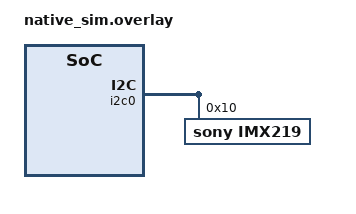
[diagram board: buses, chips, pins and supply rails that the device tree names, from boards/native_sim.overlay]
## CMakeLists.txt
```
# Copyright (c) 2026 Richard Osterloh
# SPDX-License-Identifier: Apache-2.0

cmake_minimum_required(VERSION 3.20.0)
find_package(Zephyr REQUIRED HINTS $ENV{ZEPHYR_BASE})
project(imx219_test)

FILE(GLOB app_sources src/*.c)
target_sources(app PRIVATE ${app_sources})
```

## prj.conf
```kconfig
CONFIG_ZTEST=y
CONFIG_EMUL=y

CONFIG_I2C=y
CONFIG_I2C_EMUL=y

CONFIG_VIDEO=y
CONFIG_VIDEO_IMX219=n
CONFIG_VIDEO_IMX219_OOT=y
CONFIG_VIDEO_LOG_LEVEL_DBG=y
```

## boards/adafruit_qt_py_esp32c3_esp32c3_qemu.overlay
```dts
qemu_cortex_m3.overlay
```

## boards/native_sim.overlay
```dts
/*
 * Copyright (c) 2026 Richard Osterloh
 * SPDX-License-Identifier: Apache-2.0
 */

/ {
	imx219_input_clock: imx219-input-clock {
		compatible = "fixed-clock";
		clock-frequency = <24000000>;
		#clock-cells = <0>;
	};
};

&i2c0 {
	status = "okay";

	imx219: imx219@10 {
		compatible = "sony,imx219";
		reg = <0x10>;
		clocks = <&imx219_input_clock>;
	};
};
```

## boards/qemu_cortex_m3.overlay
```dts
/*
 * Copyright (c) 2026 Richard Osterloh
 * SPDX-License-Identifier: Apache-2.0
 */

#include <zephyr/dt-bindings/i2c/i2c.h>

/ {
	imx219_input_clock: imx219-input-clock {
		compatible = "fixed-clock";
		clock-frequency = <24000000>;
		#clock-cells = <0>;
	};

	fake_i2c_bus: i2c@100 {
		compatible = "zephyr,i2c-emul-controller";
		reg = <0x100 4>;
		clock-frequency = <I2C_BITRATE_STANDARD>;
		#address-cells = <1>;
		#size-cells = <0>;
		status = "okay";

		imx219: imx219@10 {
			compatible = "sony,imx219";
			reg = <0x10>;
			clocks = <&imx219_input_clock>;
		};
	};
};
```

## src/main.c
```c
/*
 * Copyright (c) 2026 Richard Osterloh
 * SPDX-License-Identifier: Apache-2.0
 *
 * Register-sequence tests for the IMX219 fork. Each one asserts the state the
 * sensor is left in, which is the part of #37's bring-up that never needed a
 * camera: the register read-back was self-consistent there while no frame
 * arrived, and these tests say nothing about frames either.
 */

#include <zephyr/device.h>
#include <zephyr/drivers/video.h>
#include <zephyr/video/formats.h>
#include <zephyr/video/video.h>
#include <zephyr/ztest.h>

#include "imx219_emul.h"

static const struct device *const cam = DEVICE_DT_GET(DT_NODELABEL(imx219));

/* What imx219_init() left behind, captured before any test changes it. */
static struct {
	struct video_format fmt;
	uint16_t x_output_size;
	uint16_t y_output_size;
	uint16_t csi_data_format;
	uint8_t oppxck_div;
} boot;

static void set_fmt(uint32_t pixelformat, uint32_t width, uint32_t height)
{
	struct video_format fmt = {
		.type = VIDEO_BUF_TYPE_OUTPUT,
		.pixelformat = pixelformat,
		.width = width,
		.height = height,
	};

	zassert_ok(video_set_format(cam, &fmt), "%ux%u rejected", width, height);
}

static void set_fps(uint32_t fps)
{
	struct video_frmival frmival = {.numerator = 1, .denominator = fps};

	zassert_ok(video_set_frmival(cam, &frmival));
	zassert_equal(frmival.denominator, fps);
}

/* Centred crop window of w x h on the 3280x2464 array, as inclusive bounds. */
static void assert_crop(uint16_t w, uint16_t h)
{
	zassert_equal(imx219_emul_reg16(IMX219_EMUL_X_ADD_STA_A), (3280 - w) / 2);
	zassert_equal(imx219_emul_reg16(IMX219_EMUL_X_ADD_END_A), (3280 + w) / 2 - 1);
	zassert_equal(imx219_emul_reg16(IMX219_EMUL_Y_ADD_STA_A), (2464 - h) / 2);
	zassert_equal(imx219_emul_reg16(IMX219_EMUL_Y_ADD_END_A), (2464 + h) / 2 - 1);
}

static void *imx219_setup(void)
{
	zassert_true(device_is_ready(cam), "probe should succeed against the emulator");

	boot.fmt.type = VIDEO_BUF_TYPE_OUTPUT;
	zassert_ok(video_get_format(cam, &boot.fmt));
	boot.x_output_size = imx219_emul_reg16(IMX219_EMUL_X_OUTPUT_SIZE);
	boot.y_output_size = imx219_emul_reg16(IMX219_EMUL_Y_OUTPUT_SIZE);
	boot.csi_data_format = imx219_emul_reg16(IMX219_EMUL_CSI_DATA_FORMAT_A);
	boot.oppxck_div = imx219_emul_reg8(IMX219_EMUL_OPPXCK_DIV);

	return NULL;
}

/* #44: the boot format was the caps minimum, 4x4. */
ZTEST(imx219, test_boot_format_is_a_real_mode)
{
	zassert_equal(boot.fmt.pixelformat, VIDEO_PIX_FMT_SBGGR10P);
	zassert_equal(boot.fmt.width, 1640);
	zassert_equal(boot.fmt.height, 1232);
	zassert_equal(boot.fmt.pitch, 1640 * 10 / 8);

	zassert_equal(boot.x_output_size, 1640);
	zassert_equal(boot.y_output_size, 1232);
	zassert_equal(boot.csi_data_format, 0x0a0a);
	zassert_equal(boot.oppxck_div, 10);
}

ZTEST(imx219, test_probe_programs_clock_and_link)
{
	/* 24 MHz INCK, as MHz << 8. */
	zassert_equal(imx219_emul_reg16(IMX219_EMUL_EXCK_FREQ), 0x1800);
	/* 24 / 3 * 114 = 912 Mbps per lane, matching the advertised link frequency. */
	zassert_equal(imx219_emul_reg16(IMX219_EMUL_PLL_OP_MPY), 114);
}

/*
 * The defect #35 fixed: set_frmival() used to rewrite OPPXCK_DIV to 10 after
 * set_fmt() had chosen RAW8, leaving 8-bit payloads clocked out for 10.
 */
ZTEST(imx219, test_raw8_divider_survives_set_frmival)
{
	set_fmt(VIDEO_PIX_FMT_SBGGR8, 1640, 1232);
	set_fps(30);
	set_fps(15);

	zassert_equal(imx219_emul_reg8(IMX219_EMUL_OPPXCK_DIV), 8);
	zassert_equal(imx219_emul_reg16(IMX219_EMUL_CSI_DATA_FORMAT_A), 0x0808);
}

ZTEST(imx219, test_raw10_divider_and_data_format)
{
	set_fmt(VIDEO_PIX_FMT_SBGGR8, 1920, 1080);
	set_fmt(VIDEO_PIX_FMT_SBGGR10P, 1920, 1080);
	set_fps(30);

	zassert_equal(imx219_emul_reg8(IMX219_EMUL_OPPXCK_DIV), 10);
	zassert_equal(imx219_emul_reg16(IMX219_EMUL_CSI_DATA_FORMAT_A), 0x0a0a);
}

/* #37: binning was never enabled, so 1640x1232 was a centre crop. */
ZTEST(imx219, test_half_resolution_bins_full_field_of_view)
{
	set_fmt(VIDEO_PIX_FMT_SBGGR10P, 1640, 1232);

	zassert_equal(imx219_emul_reg8(IMX219_EMUL_BINNING_MODE_H), 0x03);
	zassert_equal(imx219_emul_reg8(IMX219_EMUL_BINNING_MODE_V), 0x03);
	assert_crop(3280, 2464);
	zassert_equal(imx219_emul_reg16(IMX219_EMUL_X_OUTPUT_SIZE), 1640);
	zassert_equal(imx219_emul_reg16(IMX219_EMUL_Y_OUTPUT_SIZE), 1232);
	/* Analog binning needs the longer minimum line. */
	zassert_equal(imx219_emul_reg16(IMX219_EMUL_LINE_LENGTH_A), 3560);
}

ZTEST(imx219, test_small_mode_crops_twice_the_output)
{
	set_fmt(VIDEO_PIX_FMT_SBGGR10P, 640, 480);

	zassert_equal(imx219_emul_reg8(IMX219_EMUL_BINNING_MODE_H), 0x03);
	zassert_equal(imx219_emul_reg8(IMX219_EMUL_BINNING_MODE_V), 0x03);
	assert_crop(1280, 960);
}

ZTEST(imx219, test_1080p_is_an_unbinned_crop)
{
	set_fmt(VIDEO_PIX_FMT_SBGGR10P, 1920, 1080);

	zassert_equal(imx219_emul_reg8(IMX219_EMUL_BINNING_MODE_H), 0x00);
	zassert_equal(imx219_emul_reg8(IMX219_EMUL_BINNING_MODE_V), 0x00);
	assert_crop(1920, 1080);
	zassert_equal(imx219_emul_reg16(IMX219_EMUL_LINE_LENGTH_A), 3448);
}

ZTEST(imx219, test_binning_keeps_pixels_square)
{
	/* The height fits twice into the array but the width does not: no binning. */
	set_fmt(VIDEO_PIX_FMT_SBGGR10P, 1920, 1232);

	zassert_equal(imx219_emul_reg8(IMX219_EMUL_BINNING_MODE_H), 0x00);
	zassert_equal(imx219_emul_reg8(IMX219_EMUL_BINNING_MODE_V), 0x00);
	assert_crop(1920, 1232);
}

/*
 * Frame length comes from the requested rate: 182.4 MHz / (3448 * 30) = 1763,
 * the FLL the Raspberry Pi driver uses for its 30 fps 1080p mode. It used to be
 * height + 20 whatever rate was asked for.
 */
ZTEST(imx219, test_frame_length_follows_frame_rate)
{
	set_fmt(VIDEO_PIX_FMT_SBGGR10P, 1920, 1080);

	set_fps(30);
	zassert_equal(imx219_emul_reg16(IMX219_EMUL_FRM_LENGTH_A), 1763);

	set_fps(15);
	zassert_equal(imx219_emul_reg16(IMX219_EMUL_FRM_LENGTH_A), 3526);
}

ZTEST(imx219, test_frame_length_never_shorter_than_output)
{
	set_fps(30);
	set_fmt(VIDEO_PIX_FMT_SBGGR10P, 3280, 2464);

	/* 30 fps is out of reach at full resolution; keep 32 lines of blanking. */
	zassert_equal(imx219_emul_reg16(IMX219_EMUL_FRM_LENGTH_A), 2464 + 32);
}

ZTEST(imx219, test_stream_start_and_stop_drive_mode_select)
{
	zassert_ok(video_stream_start(cam, VIDEO_BUF_TYPE_OUTPUT));
	zassert_equal(imx219_emul_reg8(IMX219_EMUL_MODE_SELECT), 0x01);

	zassert_ok(video_stream_stop(cam, VIDEO_BUF_TYPE_OUTPUT));
	zassert_equal(imx219_emul_reg8(IMX219_EMUL_MODE_SELECT), 0x00);
}

ZTEST(imx219, test_set_fmt_rejects_unsupported_requests)
{
	struct video_format fmt = {
		.type = VIDEO_BUF_TYPE_OUTPUT,
		.pixelformat = VIDEO_PIX_FMT_SBGGR10P,
		.width = 1642,
		.height = 1232,
	};

	zassert_equal(video_set_format(cam, &fmt), -EINVAL, "width off the 4-pixel step");

	fmt.pixelformat = VIDEO_PIX_FMT_RGB565;
	fmt.width = 1640;
	zassert_equal(video_set_format(cam, &fmt), -ENOTSUP);
}

ZTEST_SUITE(imx219, NULL, imx219_setup, NULL, NULL, NULL);
```

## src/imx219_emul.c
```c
/*
 * Copyright (c) 2026 Richard Osterloh
 * SPDX-License-Identifier: Apache-2.0
 *
 * I2C emulator for a Sony IMX219.
 *
 * A flat byte-wide register file behind 16-bit CCI addresses. The driver goes
 * through video_write_cci_reg(), which splits every 16-bit register into two
 * single-byte writes at consecutive addresses, so storing bytes and reading
 * pairs back big-endian is exactly what the sensor does. Burst transfers
 * auto-increment the address the same way.
 *
 * The only behaviour beyond storage is CHIP_ID, which reads 0x0219 so probe
 * passes, and SOFTWARE_RESET, which clears everything else.
 */

#define DT_DRV_COMPAT sony_imx219

#include <string.h>

#include <zephyr/drivers/emul.h>
#include <zephyr/drivers/i2c.h>
#include <zephyr/drivers/i2c_emul.h>
#include <zephyr/sys/byteorder.h>

#include "imx219_emul.h"

#define IMX219_EMUL_ADDR_SIZE 2

static uint8_t emul_regs[UINT16_MAX + 1];

static void emul_reset(void)
{
	memset(emul_regs, 0, sizeof(emul_regs));
	sys_put_be16(0x0219, &emul_regs[0x0000]);
}

uint8_t imx219_emul_reg8(uint16_t addr)
{
	return emul_regs[addr];
}

uint16_t imx219_emul_reg16(uint16_t addr)
{
	return ((uint16_t)emul_regs[addr] << 8) | emul_regs[(uint16_t)(addr + 1)];
}

static void emul_write(uint16_t addr, const uint8_t *buf, size_t len)
{
	for (size_t i = 0; i < len; i++, addr++) {
		if (addr == IMX219_EMUL_SOFTWARE_RESET && (buf[i] & BIT(0))) {
			emul_reset();
			continue;
		}
		emul_regs[addr] = buf[i];
	}
}

static int imx219_emul_transfer(const struct emul *target, struct i2c_msg *msgs, int num_msgs,
				int addr)
{
	ARG_UNUSED(target);
	ARG_UNUSED(addr);

	if (num_msgs < 1 || (msgs[0].flags & I2C_MSG_READ) || msgs[0].len < IMX219_EMUL_ADDR_SIZE) {
		return -EIO;
	}

	uint16_t reg = sys_get_be16(msgs[0].buf);

	if (num_msgs == 1) {
		emul_write(reg, &msgs[0].buf[IMX219_EMUL_ADDR_SIZE],
			   msgs[0].len - IMX219_EMUL_ADDR_SIZE);
		return 0;
	}

	if (num_msgs == 2 && msgs[0].len == IMX219_EMUL_ADDR_SIZE &&
	    (msgs[1].flags & I2C_MSG_READ)) {
		for (size_t i = 0; i < msgs[1].len; i++) {
			msgs[1].buf[i] = emul_regs[(uint16_t)(reg + i)];
		}
		return 0;
	}

	return -EIO;
}

static const struct i2c_emul_api imx219_emul_api = {
	.transfer = imx219_emul_transfer,
};

static int imx219_emul_init(const struct emul *target, const struct device *parent)
{
	ARG_UNUSED(target);
	ARG_UNUSED(parent);

	emul_reset();

	return 0;
}

#define IMX219_EMUL_DEFINE(n)                                                                      \
	EMUL_DT_INST_DEFINE(n, imx219_emul_init, NULL, NULL, &imx219_emul_api, NULL)

DT_INST_FOREACH_STATUS_OKAY(IMX219_EMUL_DEFINE)
```

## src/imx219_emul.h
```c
/*
 * Copyright (c) 2026 Richard Osterloh
 * SPDX-License-Identifier: Apache-2.0
 */

#ifndef IMX219_EMUL_H_
#define IMX219_EMUL_H_

#include <stdint.h>

#define IMX219_EMUL_MODE_SELECT       0x0100
#define IMX219_EMUL_SOFTWARE_RESET    0x0103
#define IMX219_EMUL_EXCK_FREQ         0x012a
#define IMX219_EMUL_FRM_LENGTH_A      0x0160
#define IMX219_EMUL_LINE_LENGTH_A     0x0162
#define IMX219_EMUL_X_ADD_STA_A       0x0164
#define IMX219_EMUL_X_ADD_END_A       0x0166
#define IMX219_EMUL_Y_ADD_STA_A       0x0168
#define IMX219_EMUL_Y_ADD_END_A       0x016a
#define IMX219_EMUL_X_OUTPUT_SIZE     0x016c
#define IMX219_EMUL_Y_OUTPUT_SIZE     0x016e
#define IMX219_EMUL_BINNING_MODE_H    0x0174
#define IMX219_EMUL_BINNING_MODE_V    0x0175
#define IMX219_EMUL_CSI_DATA_FORMAT_A 0x018c
#define IMX219_EMUL_OPPXCK_DIV        0x0309
#define IMX219_EMUL_PLL_OP_MPY        0x030c

/** Current value of an 8-bit register. */
uint8_t imx219_emul_reg8(uint16_t addr);

/** Current value of a 16-bit register pair, high byte at @p addr as on the sensor. */
uint16_t imx219_emul_reg16(uint16_t addr);

#endif /* IMX219_EMUL_H_ */
```
